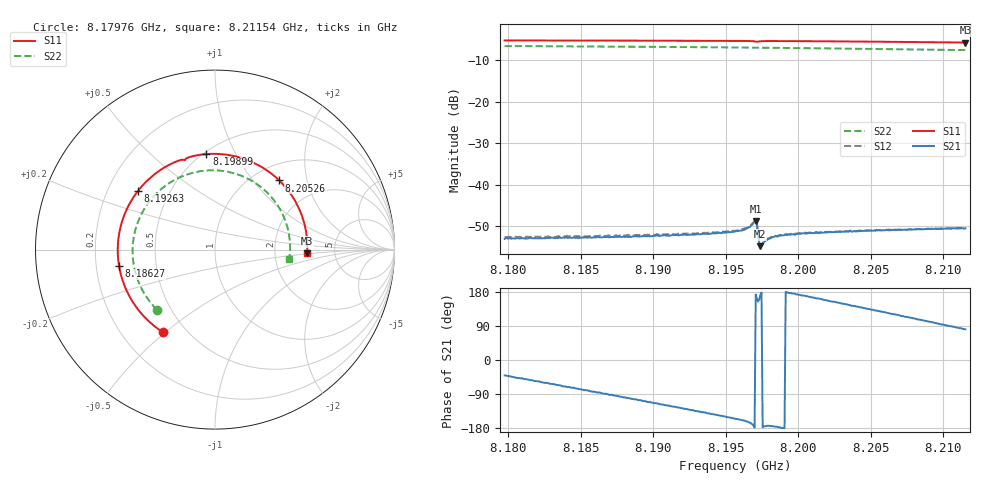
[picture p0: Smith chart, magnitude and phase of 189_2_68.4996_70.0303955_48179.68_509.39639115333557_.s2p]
#  HZ  S  RI  R  50.00
! Rohde & Schwarz Vector Network Analyzer
! Rohde-Schwarz,ZNB20-2Port,1311601062101988,3.16
! Created: UTC 3/20/2024, 4:57:02 PM
! freq[Hz]  re:S11  im:S11  re:S21  im:S21  re:S12  im:S12  re:S22  im:S22
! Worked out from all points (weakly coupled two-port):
!   401 points, 8.17976 GHz to 8.21154 GHz, reference 50 ohm
!   highest |S21| = -48.82 dB at 8.19708 GHz (marker M1); lowest = -54.9 dB at 8.1974 GHz (marker M2)
!   lowest |S11| = -5.8 dB at 8.21154 GHz (marker M3), VSWR 3.11, Z = 155 - j8.4 ohm
!   |S11| at or under -10 dB: nowhere
!   |S22| runs from -7.6 to -6.6 dB; largest |S21 - S12| = 0.00018
!   S11 on the Smith chart (normalised r, x): 8.17976 GHz: 0.37, -0.49; 8.18627 GHz: 0.30, -0.08; 8.19263 GHz: 0.33, +0.30; 8.19899 GHz: 0.52, +0.77; 8.20526 GHz: 1.29, +1.37; 8.21154 GHz: 3.10, -0.17
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8.179757e9  -0.2916 -0.4592  0.00168 -0.00144  0.00176 -0.00155  -0.3239 -0.335
8.182617e9  -0.4357 -0.3246  0.00112 -0.00198  0.00113 -0.00205  -0.4152 -0.205
8.185081e9  -0.5144 -0.173  0.000465 -0.00223  0.000453 -0.00234  -0.4546 -0.0744
8.186273e9  -0.5344 -0.0924  0.000184 -0.00232  0.000137 -0.00242  -0.4592 -0.00845
8.188338e9  -0.5392 0.0514  -0.000451 -0.00229  -0.000493 -0.00239  -0.4451 0.105
8.190404e9  -0.5056 0.1916  -0.00103 -0.00216  -0.00115 -0.00221  -0.4028 0.2113
8.192629e9  -0.4292 0.3272  -0.00168 -0.00183  -0.00178 -0.00186  -0.3289 0.31
8.195649e9  -0.2687 0.4653  -0.00246 -0.00116  -0.00253 -0.0011  -0.1908 0.4051
8.196364e9  -0.2227 0.4879  -0.00272 -0.000961  -0.00284 -0.000872  -0.1534 0.4194
8.19692e9  -0.1828 0.5005  -0.00339 -0.000442  -0.00348 -0.00032  -0.1232 0.4281
8.196999e9  -0.1765 0.5007  -0.00358 -9.6e-05  -0.00365 7.13e-05  -0.1189 0.4293
8.197079e9  -0.1709 0.4991  -0.00359 0.00046  -0.00366 0.000595  -0.1146 0.4301
8.197397e9  -0.1609 0.507  -0.00179 0.000266  -0.00181 0.000376  -0.0974 0.4339
8.197556e9  -0.1496 0.5127  -0.00194 -8.8e-05  -0.00193 -1.27e-05  -0.0887 0.4357
8.198032e9  -0.1153 0.5224  -0.00223 -0.000239  -0.00227 -0.000161  -0.0619 0.4394
8.198986e9  -0.0477 0.5322  -0.00244 -1.09e-05  -0.00247 0.000129  -0.00798 0.442
8.200972e9  0.0922 0.524  -0.00252 0.000651  -0.00251 0.000809  0.1035 0.426
8.203038e9  0.2301 0.4767  -0.00232 0.0014  -0.00227 0.0015  0.2117 0.379
8.205263e9  0.358 0.3852  -0.00184 0.00212  -0.00179 0.00216  0.3106 0.2967
8.206296e9  0.4067 0.3305  -0.00154 0.00236  -0.0015 0.00244  0.3475 0.2485
8.208998e9  0.4937 0.16  -0.000557 0.00287  -0.000528 0.00288  0.4091 0.1014
8.21154e9  0.513 -0.02  0.000463 0.00293  0.000545 0.00295  0.4133 -0.0519
